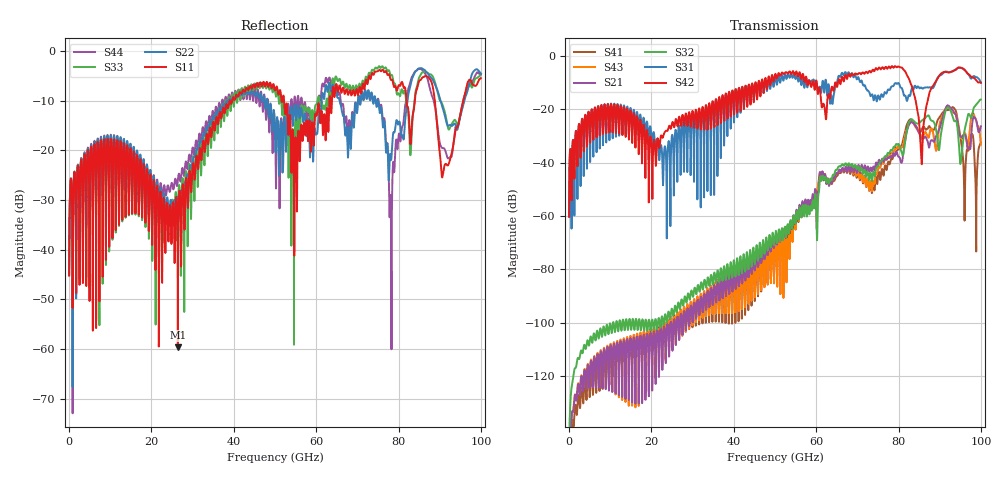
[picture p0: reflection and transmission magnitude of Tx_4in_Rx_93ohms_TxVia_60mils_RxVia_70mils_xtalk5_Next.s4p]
! Info: Touchstone file created by Circ.  Input file=Tx_4in_Rx_93ohms_TxVia_60mils_RxVia_70mils.circ
# Hz S RI R 50
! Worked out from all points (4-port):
!   10000 points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, 10 MHz to 100 GHz, reference 50 ohm
!   strongest paths, dB at 10 MHz, 25.01 GHz, 50.01 GHz, 75.01 GHz, 100 GHz:
!     S42: -60.3, -25.3, -7.0, -5.0, -10.0
!     S31: -60.3, -29.7, -8.3, -14.9, -10.2
!     S32: -156.5, -94.9, -67.8, -41.5, -16.4
!     S21: -167.2, -106.1, -69.0, -40.7, -26.5
!     S43: -158.1, -107.1, -71.8, -42.5, -33.3
!     S41: -158.3, -103.9, -73.3, -45.0, -32.8
!   lowest |S11| = -59.7 dB at 26.41 GHz (marker M1), VSWR 1.00, Z = 49.9 + j0.0897 ohm
!   |S11| at or under -10 dB: start of sweep to 38.97 GHz; 52.21 GHz to 63.22 GHz (11.01 GHz wide, 19.1 % of centre); 88.82 GHz to 95.74 GHz (6.919 GHz wide, 7.5 % of centre) (the widest 3 of 7)
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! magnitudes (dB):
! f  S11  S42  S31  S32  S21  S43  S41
! 10 MHz  -45.2  -60.3  -60.3  -156.5  -167.2  -158.1  -158.3
! 7.45 GHz  -27.2  -29.9  -34.7  -103.1  -116.1  -115.4  -123.1
! 26.41 GHz  -59.7  -26.0  -32.2  -93.0  -97.9  -96.6  -96.9
! 62.84 GHz  -14.1  -14.8  -12.3  -46.3  -46.1  -46.7  -46.0
! 78.1 GHz  -5.8  -4.6  -12.1  -35.3  -37.6  -36.6  -39.0
! 85.56 GHz  -5.6  -38.4  -12.0  -24.4  -31.0  -30.1  -27.8
! 100 GHz  -5.5  -10.0  -10.2  -16.4  -26.5  -33.3  -32.8
